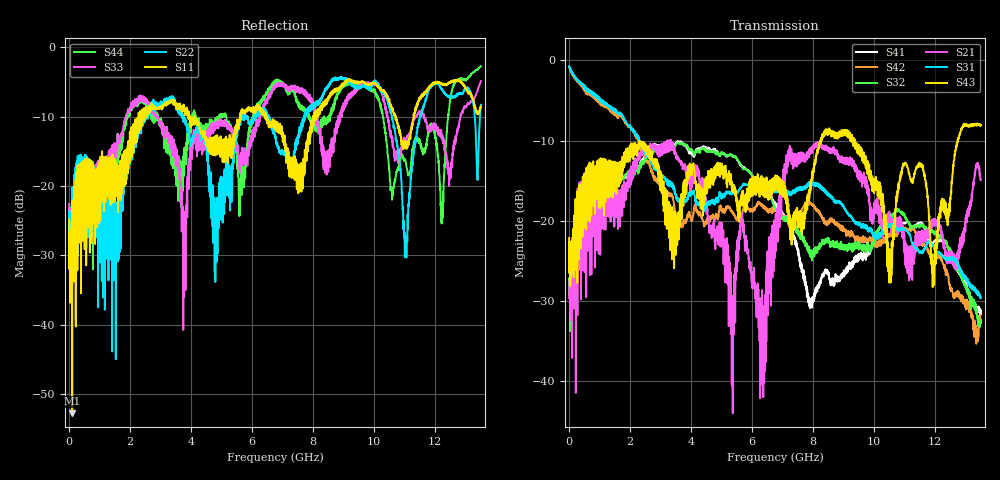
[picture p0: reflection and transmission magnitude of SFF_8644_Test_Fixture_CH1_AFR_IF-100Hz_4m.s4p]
!Keysight Technologies,N5231B,MY57181281,A.17.25.05
!Date: Friday, March 07, 2025 17:11:18
!Correction: S11(C  4-Port  )
!S12(C  4-Port  )
!S13(C  4-Port  )
!S14(C  4-Port  )
!S21(C  4-Port  )
!S22(C  4-Port  )
!S23(C  4-Port  )
!S24(C  4-Port  )
!S31(C  4-Port  )
!S32(C  4-Port  )
!S33(C  4-Port  )
!S34(C  4-Port  )
!S41(C  4-Port  )
!S42(C  4-Port  )
!S43(C  4-Port  )
!S44(C  4-Port  )
!S4P File: Measurements: <S11,S12,S13,S14>,
!<S21,S22,S23,S24>,
!<S31,S32,S33,S34>,
!<S41,S42,S43,S44>:
# Hz S  dB  R 50
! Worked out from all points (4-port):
!   1350 points, 10 MHz to 13.5 GHz, reference 50 ohm
!   strongest paths, dB at 10 MHz, 3.38 GHz, 6.76 GHz, 10.13 GHz, 13.5 GHz:
!     S43: -22.2, -24.8, -16.2, -15.4, -8.0
!     S31: -0.7, -15.3, -16.3, -21.8, -29.7
!     S21: -29.7, -10.7, -21.4, -18.1, -14.9
!     S32: -27.2, -11.0, -18.5, -21.5, -32.5
!     S42: -0.8, -16.9, -18.8, -22.8, -32.4
!     S41: -27.3, -10.9, -17.9, -21.1, -31.3
!   lowest |S11| = -52.8 dB at 110 MHz (marker M1), VSWR 1.00, Z = 49.9 + j0.196 ohm
!   |S11| at or under -10 dB: start of sweep to 2.288 GHz; 4.121 GHz to 5.607 GHz (1.486 GHz wide, 30.6 % of centre); 6.491 GHz to 7.999 GHz (1.508 GHz wide, 20.8 % of centre)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
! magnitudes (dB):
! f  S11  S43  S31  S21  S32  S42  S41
! 10 MHz  -24.8  -22.2  -0.7  -29.7  -27.2  -0.8  -27.3
! 110 MHz  -52.8  -26.2  -1.4  -37.1  -30.3  -1.6  -30.7
! 3.62 GHz  -8.5  -19.7  -17.5  -12.6  -10.4  -20.5  -10.1
! 6.36 GHz  -9.6  -14.9  -15.6  -30.8  -15.6  -18.2  -15.7
! 7.23 GHz  -18.6  -20.3  -16.4  -12.4  -19.3  -20.4  -19.9
! 12.22 GHz  -5.3  -18.7  -24.2  -21.4  -22.2  -25.0  -22.4
! 13.5 GHz  -8.6  -8.0  -29.7  -14.9  -32.5  -32.4  -31.3
